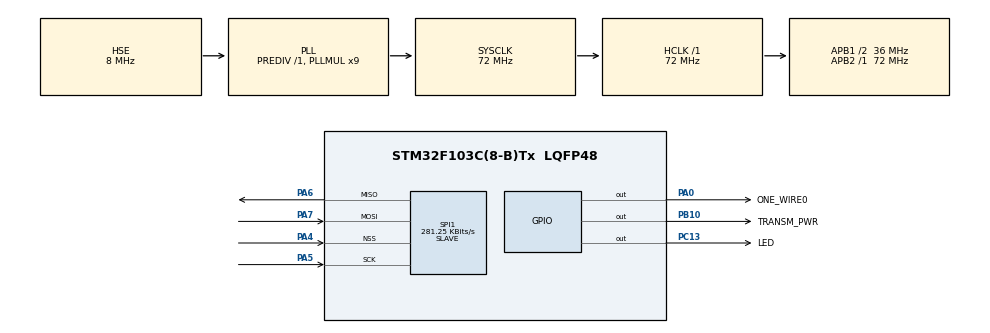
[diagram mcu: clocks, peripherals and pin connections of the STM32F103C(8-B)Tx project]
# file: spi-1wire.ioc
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Dma.Request0=SPI1_RX
Dma.Request1=SPI1_TX
Dma.SPI1_RX.0.Direction=DMA_PERIPH_TO_MEMORY
Dma.SPI1_RX.0.Instance=DMA1_Channel2
Dma.SPI1_RX.0.MemDataAlignment=DMA_MDATAALIGN_BYTE
Dma.SPI1_RX.0.MemInc=DMA_MINC_ENABLE
Dma.SPI1_RX.0.Mode=DMA_CIRCULAR
Dma.SPI1_RX.0.PeriphDataAlignment=DMA_PDATAALIGN_BYTE
Dma.SPI1_RX.0.PeriphInc=DMA_PINC_DISABLE
Dma.SPI1_RX.0.Priority=DMA_PRIORITY_MEDIUM
Dma.SPI1_TX.1.Direction=DMA_MEMORY_TO_PERIPH
Dma.SPI1_TX.1.Instance=DMA1_Channel3
Dma.SPI1_TX.1.MemDataAlignment=DMA_MDATAALIGN_BYTE
Dma.SPI1_TX.1.MemInc=DMA_MINC_ENABLE
Dma.SPI1_TX.1.Mode=DMA_CIRCULAR
Dma.SPI1_TX.1.PeriphDataAlignment=DMA_PDATAALIGN_BYTE
Dma.SPI1_TX.1.PeriphInc=DMA_PINC_DISABLE
Dma.SPI1_TX.1.Priority=DMA_PRIORITY_MEDIUM
Mcu.Family=STM32F1
Mcu.Name=STM32F103C(8-B)Tx
Mcu.Package=LQFP48
NVIC.DMA1_Channel2_IRQn=true\:0\:0\:false\:false\:true\:false
NVIC.DMA1_Channel3_IRQn=true\:0\:0\:false\:false\:true\:false
NVIC.PriorityGroup=NVIC_PRIORITYGROUP_4
NVIC.SPI1_IRQn=true\:4\:0\:true\:false\:true\:true
NVIC.TIM2_IRQn=true\:0\:0\:false\:false\:true\:true
PA0-WKUP.GPIO_Label=ONE_WIRE0
PA0-WKUP.GPIO_ModeDefaultOutputPP=GPIO_MODE_OUTPUT_OD
PA0-WKUP.GPIO_PuPd=GPIO_NOPULL
PA0-WKUP.GPIO_Speed=GPIO_SPEED_FREQ_HIGH
PA0-WKUP.PinState=GPIO_PIN_SET
PA0-WKUP.Signal=GPIO_Output
PA13.Mode=Serial_Wire
PA13.Signal=SYS_JTMS-SWDIO
PA14.Mode=Serial_Wire
PA14.Signal=SYS_JTCK-SWCLK
PA4.Mode=NSS_Signal_Hard_Input
PA4.Signal=SPI1_NSS
PA5.Mode=Full_Duplex_Slave
PA5.Signal=SPI1_SCK
PA6.Mode=Full_Duplex_Slave
PA6.Signal=SPI1_MISO
PA7.Mode=Full_Duplex_Slave
PA7.Signal=SPI1_MOSI
PB10.GPIO_Label=TRANSM_PWR
PB10.GPIO_ModeDefaultOutputPP=GPIO_MODE_OUTPUT_OD
PB10.GPIO_Speed=GPIO_SPEED_FREQ_HIGH
PB10.PinState=GPIO_PIN_SET
PB10.Signal=GPIO_Output
PC13-TAMPER-RTC.GPIO_Label=LED
PC13-TAMPER-RTC.Signal=GPIO_Output
PD0-OSC_IN.Mode=HSE-External-Oscillator
PD0-OSC_IN.Signal=RCC_OSC_IN
PD1-OSC_OUT.Mode=HSE-External-Oscillator
PD1-OSC_OUT.Signal=RCC_OSC_OUT
ProjectManager.HeapSize=0x400
ProjectManager.StackSize=0x400
ProjectManager.TargetToolchain=MDK-ARM V5
RCC.AHBFreq_Value=72000000
RCC.APB1CLKDivider=RCC_HCLK_DIV2
RCC.APB1Freq_Value=36000000
RCC.APB1TimFreq_Value=72000000
RCC.APB2Freq_Value=72000000
RCC.APB2TimFreq_Value=72000000
RCC.HCLKFreq_Value=72000000
RCC.PLLMUL=RCC_PLL_MUL9
RCC.PLLSourceVirtual=RCC_PLLSOURCE_HSE
RCC.SYSCLKFreq_VALUE=72000000
RCC.SYSCLKSource=RCC_SYSCLKSOURCE_PLLCLK
RCC.USBFreq_Value=72000000
SPI1.BaudRatePrescaler=SPI_BAUDRATEPRESCALER_256
SPI1.CalculateBaudRate=281.25 KBits/s
SPI1.Direction=SPI_DIRECTION_2LINES
SPI1.Mode=SPI_MODE_SLAVE
SPI1.VirtualNSS=VM_NSSHARD
SPI1.VirtualType=VM_SLAVE
TIM2.AutoReloadPreload=TIM_AUTORELOAD_PRELOAD_ENABLE
TIM2.Period=359
TIM2.TIM_MasterOutputTrigger=TIM_TRGO_UPDATE
VP_TIM2_VS_ClockSourceINT.Mode=Internal
board=custom

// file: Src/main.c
/**
  ******************************************************************************
  * @file           : main.c
  * @brief          : Main program body
  ******************************************************************************
  ** This notice applies to any and all portions of this file
  * that are not between comment pairs USER CODE BEGIN and
  * USER CODE END. Other portions of this file, whether
  * inserted by the user or by software development tools
  * are owned by their respective copyright owners.
  *
  * COPYRIGHT(c) 2018 STMicroelectronics
  *
  * Redistribution and use in source and binary forms, with or without modification,
  * are permitted provided that the following conditions are met:
  *   1. Redistributions of source code must retain the above copyright notice,
  *      this list of conditions and the following disclaimer.
  *   2. Redistributions in binary form must reproduce the above copyright notice,
  *      this list of conditions and the following disclaimer in the documentation
  *      and/or other materials provided with the distribution.
  *   3. Neither the name of STMicroelectronics nor the names of its contributors
  *      may be used to endorse or promote products derived from this software
  *      without specific prior written permission.
  *
  * THIS SOFTWARE IS PROVIDED BY THE COPYRIGHT HOLDERS AND CONTRIBUTORS "AS IS"
  * AND ANY EXPRESS OR IMPLIED WARRANTIES, INCLUDING, BUT NOT LIMITED TO, THE
  * IMPLIED WARRANTIES OF MERCHANTABILITY AND FITNESS FOR A PARTICULAR PURPOSE ARE
  * DISCLAIMED. IN NO EVENT SHALL THE COPYRIGHT HOLDER OR CONTRIBUTORS BE LIABLE
  * FOR ANY DIRECT, INDIRECT, INCIDENTAL, SPECIAL, EXEMPLARY, OR CONSEQUENTIAL
  * DAMAGES (INCLUDING, BUT NOT LIMITED TO, PROCUREMENT OF SUBSTITUTE GOODS OR
  * SERVICES; LOSS OF USE, DATA, OR PROFITS; OR BUSINESS INTERRUPTION) HOWEVER
  * CAUSED AND ON ANY THEORY OF LIABILITY, WHETHER IN CONTRACT, STRICT LIABILITY,
  * OR TORT (INCLUDING NEGLIGENCE OR OTHERWISE) ARISING IN ANY WAY OUT OF THE USE
  * OF THIS SOFTWARE, EVEN IF ADVISED OF THE POSSIBILITY OF SUCH DAMAGE.
  *
  ******************************************************************************
  */
#include "main.h"
#include "stm32f1xx_hal.h"

/* USER CODE BEGIN Includes */
#include <string.h>
#include "utick.h"
#define _usec(x) x/5
/* USER CODE END Includes */

SPI_HandleTypeDef hspi1;
DMA_HandleTypeDef hdma_spi1_rx;
DMA_HandleTypeDef hdma_spi1_tx;

TIM_HandleTypeDef htim2;

/* USER CODE BEGIN PV */
/* Private variables ---------------------------------------------------------*/

/* USER CODE END PV */

void SystemClock_Config(void);
static void MX_GPIO_Init(void);
static void MX_DMA_Init(void);
static void MX_SPI1_Init(void);
static void MX_TIM2_Init(void);

/* USER CODE BEGIN PFP */
/* Private function prototypes -----------------------------------------------*/
uint8_t dallas_crc8(const uint8_t * data, const uint32_t size){
  uint8_t crc = 0;
  for ( uint32_t i = 0; i < size; ++i ){
    uint8_t inbyte = data[i];
    for ( uint8_t j = 0; j < 8; ++j ){
      uint8_t mix = (crc ^ inbyte) & 0x01;
      crc >>= 1;
      if ( mix ) crc ^= 0x8C;
      inbyte >>= 1;
    }
  }
  return crc;
}

uint32_t onewire_reset(GPIO_TypeDef *port, uint32_t pin){
  uint32_t presence;
  port->BSRR = (uint32_t)pin << 16U;
  usleep_spin(2500);  //488us (reset) Trstl
  port->BSRR = pin;
  usleep_spin(300);   //60 us (presence)
  if ((port->IDR & pin) != (uint32_t)GPIO_PIN_RESET){
    presence = 0;
  }else{
    presence = 1;
  }
  usleep_spin(2500);  //488us (reset) Trsth
  return presence;
}

uint32_t onewire_write(GPIO_TypeDef *port, uint32_t pin, uint8_t cmd){
  int32_t i;
  for (i = 0; i < 8; i ++){ // send command
    port->BSRR = (uint32_t)pin << 16U;
    if (cmd & (1 << i)){
      usleep_spin(50); //10.5us
      port->BSRR = pin;
      usleep_spin(300);//~50us
    }else{
      usleep_spin(350);//~70us
      port->BSRR = pin;
    }
    usleep_spin(50); //10.5us Trec
  }
  usleep_spin(500);
  return 0;
}

uint32_t onewire_read(GPIO_TypeDef *port, uint32_t pin, uint8_t*data, uint32_t size_bytes){
  int32_t i, bi;
  uint8_t *p_data;
  for (bi = 0; bi < size_bytes; bi ++){
    p_data = &data[bi];
    for (i = 0; i < 8; i ++){
      port->BSRR = (uint32_t)pin << 16U;
      usleep_spin(50); //10.5us Trdv
      port->BSRR = pin;
      usleep_spin(5); //1.5us
      if ((port->IDR & pin) != (uint32_t)GPIO_PIN_RESET){ //1
        (*p_data) |= (1 << i);
      }
      usleep_spin(350); //70us Tslot - Trdv
    }
  }
  return 0;
}

uint32_t onewire_readbit(GPIO_TypeDef *port, uint32_t pin){
  uint32_t bit = 0;
  port->BSRR = (uint32_t)pin << 16U;
  usleep_spin(50); //10.5us Trdv
  port->BSRR = pin;
  usleep_spin(5); //1.5us
  if ((port->IDR & pin) != (uint32_t)GPIO_PIN_RESET){ //1
    bit = 1;
  }
  usleep_spin(350); //70us Tslot - Trdv
  return bit;
}

/* USER CODE END PFP */

int main(void)
{
  /* USER CODE BEGIN 1 */
  HAL_StatusTypeDef ret;
  uint8_t tx_buf[32], rx_buf[32];
  uint32_t presence, i;
  uint8_t  rom[8], scratchpad[9];

  /* USER CODE END 1 */

  /* MCU Configuration----------------------------------------------------------*/

  /* Reset of all peripherals, Initializes the Flash interface and the Systick. */
  HAL_Init();

  /* USER CODE BEGIN Init */
  reset_utick();

  /* USER CODE END Init */

  /* Configure the system clock */
  SystemClock_Config();

  /* Initialize all configured peripherals */
  MX_GPIO_Init();
  MX_DMA_Init();
  MX_SPI1_Init();
  MX_TIM2_Init();
  /* USER CODE BEGIN 2 */
//  ret = HAL_TIM_Base_Start_IT(&htim2);
#if 0
  while (1){
    HAL_GPIO_TogglePin(TRANSM_PWR_GPIO_Port, TRANSM_PWR_Pin);
    HAL_Delay(2000);
  }
 #endif

  /* USER CODE END 2 */

  /* Infinite loop */
  /* USER CODE BEGIN WHILE */
  while(1){
    ret = HAL_SPI_TransmitReceive  (&hspi1, tx_buf, rx_buf, 1, 1000000); //1000s

//    usleep_spin(5);   //5.5-9 us if TIM2 enabled; 1.5-2 us if TIM2 disabled
//    usleep_spin(35);  //7.5 us if TIM2 disabled
//    usleep_spin(50);  //10.5 us if TIM2 disabled

    onewire_reset(ONE_WIRE0_GPIO_Port, ONE_WIRE0_Pin);

    HAL_GPIO_WritePin(LED_GPIO_Port, LED_Pin, (presence)? GPIO_PIN_RESET:GPIO_PIN_SET);

    memset(rom, 0x00, sizeof(rom));
    onewire_write(ONE_WIRE0_GPIO_Port, ONE_WIRE0_Pin, 0x33); /* READ ROM */
    onewire_read(ONE_WIRE0_GPIO_Port, ONE_WIRE0_Pin, rom, 8);

    onewire_write(ONE_WIRE0_GPIO_Port, ONE_WIRE0_Pin, 0x44); /* CONVERT T */
    while(!onewire_readbit(ONE_WIRE0_GPIO_Port, ONE_WIRE0_Pin)){
      /* wait for T conversion done*/
    }

    onewire_reset(ONE_WIRE0_GPIO_Port, ONE_WIRE0_Pin);
    memset(rom, 0x00, sizeof(rom));
    onewire_write(ONE_WIRE0_GPIO_Port, ONE_WIRE0_Pin, 0x33); /* READ ROM */
    onewire_read(ONE_WIRE0_GPIO_Port, ONE_WIRE0_Pin, rom, 8);

    memset(scratchpad, 0x00, sizeof(scratchpad));
    onewire_write(ONE_WIRE0_GPIO_Port, ONE_WIRE0_Pin, 0xBE); /* READ SCRATCHPAD */
    onewire_read(ONE_WIRE0_GPIO_Port, ONE_WIRE0_Pin, scratchpad, 9);

    ret = HAL_SPI_TransmitReceive  (&hspi1, scratchpad, rx_buf, 9, 1000000); //100s

    for (i = 0; i < 5; i++){
      HAL_GPIO_TogglePin(LED_GPIO_Port, LED_Pin);
      HAL_Delay(330);
    }
  }

#if 0
  while (1)
  {
    HAL_GPIO_WritePin(LED_GPIO_Port, LED_Pin, GPIO_PIN_SET);
    HAL_Delay(500);                                            // Wait 500ms
    HAL_GPIO_WritePin(LED_GPIO_Port, LED_Pin, GPIO_PIN_RESET);
    HAL_Delay(500);                                            // Wait 500ms

  /* USER CODE END WHILE */

  /* USER CODE BEGIN 3 */

  }
#endif
  /* USER CODE END 3 */

}

void SystemClock_Config(void)
{

  RCC_OscInitTypeDef RCC_OscInitStruct;
  RCC_ClkInitTypeDef RCC_ClkInitStruct;

    /**Initializes the CPU, AHB and APB busses clocks
    */
  RCC_OscInitStruct.OscillatorType = RCC_OSCILLATORTYPE_HSE;
  RCC_OscInitStruct.HSEState = RCC_HSE_ON;
  RCC_OscInitStruct.HSEPredivValue = RCC_HSE_PREDIV_DIV1;
  RCC_OscInitStruct.HSIState = RCC_HSI_ON;
  RCC_OscInitStruct.PLL.PLLState = RCC_PLL_ON;
  RCC_OscInitStruct.PLL.PLLSource = RCC_PLLSOURCE_HSE;
  RCC_OscInitStruct.PLL.PLLMUL = RCC_PLL_MUL9;
  if (HAL_RCC_OscConfig(&RCC_OscInitStruct) != HAL_OK)
  {
    _Error_Handler(__FILE__, __LINE__);
  }

    /**Initializes the CPU, AHB and APB busses clocks
    */
  RCC_ClkInitStruct.ClockType = RCC_CLOCKTYPE_HCLK|RCC_CLOCKTYPE_SYSCLK
                              |RCC_CLOCKTYPE_PCLK1|RCC_CLOCKTYPE_PCLK2;
  RCC_ClkInitStruct.SYSCLKSource = RCC_SYSCLKSOURCE_PLLCLK;
  RCC_ClkInitStruct.AHBCLKDivider = RCC_SYSCLK_DIV1;
  RCC_ClkInitStruct.APB1CLKDivider = RCC_HCLK_DIV2;
  RCC_ClkInitStruct.APB2CLKDivider = RCC_HCLK_DIV1;

  if (HAL_RCC_ClockConfig(&RCC_ClkInitStruct, FLASH_LATENCY_2) != HAL_OK)
  {
    _Error_Handler(__FILE__, __LINE__);
  }

    /**Configure the Systick interrupt time
    */
  HAL_SYSTICK_Config(HAL_RCC_GetHCLKFreq()/1000);

    /**Configure the Systick
    */
  HAL_SYSTICK_CLKSourceConfig(SYSTICK_CLKSOURCE_HCLK);

  /* SysTick_IRQn interrupt configuration */
  HAL_NVIC_SetPriority(SysTick_IRQn, 0, 0);
}

/* SPI1 init function */
static void MX_SPI1_Init(void)
{

  /* SPI1 parameter configuration*/
  hspi1.Instance = SPI1;
  hspi1.Init.Mode = SPI_MODE_SLAVE;
  hspi1.Init.Direction = SPI_DIRECTION_2LINES;
  hspi1.Init.DataSize = SPI_DATASIZE_8BIT;
  hspi1.Init.CLKPolarity = SPI_POLARITY_LOW;
  hspi1.Init.CLKPhase = SPI_PHASE_1EDGE;
  hspi1.Init.NSS = SPI_NSS_HARD_INPUT;
  hspi1.Init.BaudRatePrescaler = SPI_BAUDRATEPRESCALER_256;
  hspi1.Init.FirstBit = SPI_FIRSTBIT_MSB;
  hspi1.Init.TIMode = SPI_TIMODE_DISABLE;
  hspi1.Init.CRCCalculation = SPI_CRCCALCULATION_DISABLE;
  hspi1.Init.CRCPolynomial = 10;
  if (HAL_SPI_Init(&hspi1) != HAL_OK)
  {
    _Error_Handler(__FILE__, __LINE__);
  }

}

/* TIM2 init function */
static void MX_TIM2_Init(void)
{

  TIM_ClockConfigTypeDef sClockSourceConfig;
  TIM_MasterConfigTypeDef sMasterConfig;

  htim2.Instance = TIM2;
  htim2.Init.Prescaler = 0;
  htim2.Init.CounterMode = TIM_COUNTERMODE_UP;
  htim2.Init.Period = 359;
  htim2.Init.ClockDivision = TIM_CLOCKDIVISION_DIV1;
  htim2.Init.AutoReloadPreload = TIM_AUTORELOAD_PRELOAD_ENABLE;
  if (HAL_TIM_Base_Init(&htim2) != HAL_OK)
  {
    _Error_Handler(__FILE__, __LINE__);
  }

  sClockSourceConfig.ClockSource = TIM_CLOCKSOURCE_INTERNAL;
  if (HAL_TIM_ConfigClockSource(&htim2, &sClockSourceConfig) != HAL_OK)
  {
    _Error_Handler(__FILE__, __LINE__);
  }

  sMasterConfig.MasterOutputTrigger = TIM_TRGO_UPDATE;
  sMasterConfig.MasterSlaveMode = TIM_MASTERSLAVEMODE_DISABLE;
  if (HAL_TIMEx_MasterConfigSynchronization(&htim2, &sMasterConfig) != HAL_OK)
  {
    _Error_Handler(__FILE__, __LINE__);
  }

}

static void MX_DMA_Init(void)
{
  /* DMA controller clock enable */
  __HAL_RCC_DMA1_CLK_ENABLE();

  /* DMA interrupt init */
  /* DMA1_Channel2_IRQn interrupt configuration */
  HAL_NVIC_SetPriority(DMA1_Channel2_IRQn, 0, 0);
  HAL_NVIC_EnableIRQ(DMA1_Channel2_IRQn);
  /* DMA1_Channel3_IRQn interrupt configuration */
  HAL_NVIC_SetPriority(DMA1_Channel3_IRQn, 0, 0);
  HAL_NVIC_EnableIRQ(DMA1_Channel3_IRQn);

}

/** Configure pins as
        * Analog
        * Input
        * Output
        * EVENT_OUT
        * EXTI
*/
static void MX_GPIO_Init(void)
{

  GPIO_InitTypeDef GPIO_InitStruct;

  /* GPIO Ports Clock Enable */
  __HAL_RCC_GPIOC_CLK_ENABLE();
  __HAL_RCC_GPIOD_CLK_ENABLE();
  __HAL_RCC_GPIOA_CLK_ENABLE();
  __HAL_RCC_GPIOB_CLK_ENABLE();

  /*Configure GPIO pin Output Level */
  HAL_GPIO_WritePin(LED_GPIO_Port, LED_Pin, GPIO_PIN_RESET);

  /*Configure GPIO pin Output Level */
  HAL_GPIO_WritePin(ONE_WIRE0_GPIO_Port, ONE_WIRE0_Pin, GPIO_PIN_SET);

  /*Configure GPIO pin Output Level */
  HAL_GPIO_WritePin(TRANSM_PWR_GPIO_Port, TRANSM_PWR_Pin, GPIO_PIN_SET);

  /*Configure GPIO pin : LED_Pin */
  GPIO_InitStruct.Pin = LED_Pin;
  GPIO_InitStruct.Mode = GPIO_MODE_OUTPUT_PP;
  GPIO_InitStruct.Pull = GPIO_NOPULL;
  GPIO_InitStruct.Speed = GPIO_SPEED_FREQ_LOW;
  HAL_GPIO_Init(LED_GPIO_Port, &GPIO_InitStruct);

  /*Configure GPIO pin : ONE_WIRE0_Pin */
  GPIO_InitStruct.Pin = ONE_WIRE0_Pin;
  GPIO_InitStruct.Mode = GPIO_MODE_OUTPUT_OD;
  GPIO_InitStruct.Pull = GPIO_NOPULL;
  GPIO_InitStruct.Speed = GPIO_SPEED_FREQ_HIGH;
  HAL_GPIO_Init(ONE_WIRE0_GPIO_Port, &GPIO_InitStruct);

  /*Configure GPIO pin : TRANSM_PWR_Pin */
  GPIO_InitStruct.Pin = TRANSM_PWR_Pin;
  GPIO_InitStruct.Mode = GPIO_MODE_OUTPUT_OD;
  GPIO_InitStruct.Pull = GPIO_NOPULL;
  GPIO_InitStruct.Speed = GPIO_SPEED_FREQ_HIGH;
  HAL_GPIO_Init(TRANSM_PWR_GPIO_Port, &GPIO_InitStruct);

}

void _Error_Handler(char *file, int line)
{
  while(1)
  {
  }
}

/************************ (C) COPYRIGHT STMicroelectronics *****END OF FILE****/
